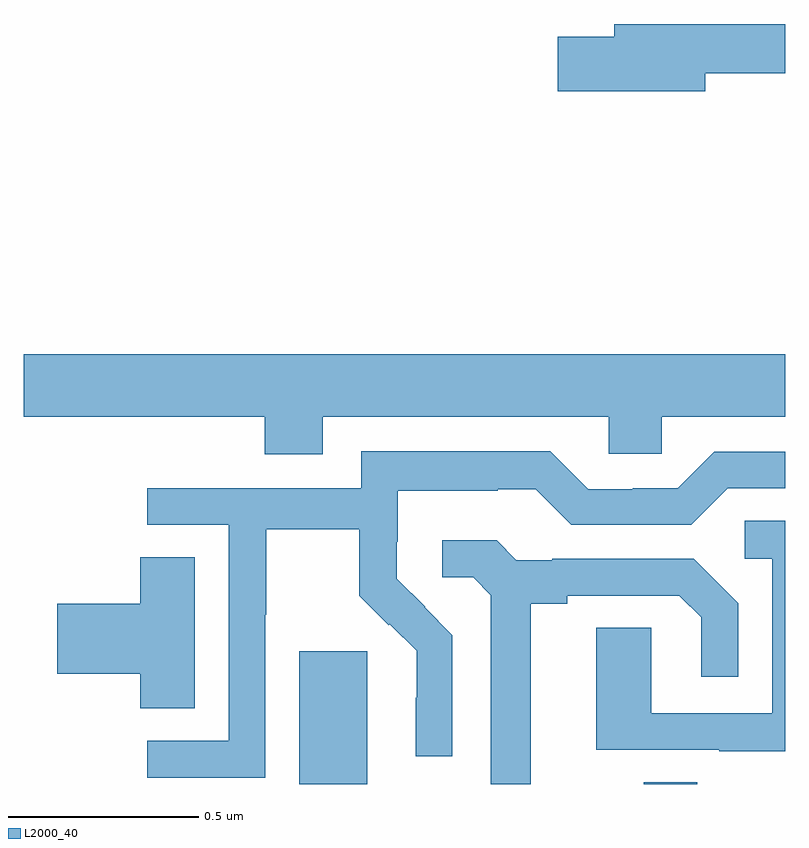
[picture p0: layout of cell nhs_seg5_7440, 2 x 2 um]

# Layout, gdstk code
import gdstk
lib = gdstk.Library(unit=1e-6, precision=1e-09)
def R(c, l, rs):  # rectangles x0, y0, x1, y1
    for r in rs: c.add(gdstk.rectangle(r[:2], r[2:], *l))
def P(c, l, *ps):  # polygons
    for p in ps: c.add(gdstk.Polygon(p, *l))
L2000_40 = (2000, 40)

nhs_seg5_7440 = lib.new_cell('nhs_seg5_7440')
R(nhs_seg5_7440, L2000_40, [(209.723,851.799,209.902,852.147), (210.629,851.799,210.769,851.804)])
P(nhs_seg5_7440, L2000_40, [(210.79,853.666),(211,853.666),(211,853.795),(210.551,853.795),(210.551,853.761),(210.402,853.761),(210.402,853.619),(210.79,853.619)],
  [(209,852.764),(209.633,852.764),(209.633,852.665),(209.785,852.665),(209.785,852.764),(210.537,852.764),(210.537,852.666),(210.675,852.666),(210.675,852.764),(211,852.764),(211,852.928),(209,852.928)],
  [(209.634,852.244),(209.637,852.244),(209.637,852.468),(209.881,852.468),(209.881,852.293),(209.958,852.216),(209.961,852.219),(210.032,852.149),(210.032,852.026),(210.03,852.026),(210.03,851.872),(210.126,851.872),(210.126,852.19),(210.053,852.263),(210.054,852.264),(209.98,852.338),(209.98,852.435),(209.982,852.435),(209.982,852.569),(210.245,852.569),(210.245,852.573),(210.345,852.573),(210.438,852.48),(210.753,852.48),(210.849,852.576),(211,852.576),(211,852.672),(210.813,852.672),(210.717,852.576),(210.599,852.576),(210.599,852.573),(210.483,852.573),(210.383,852.673),(209.886,852.673),(209.886,852.576),(209.325,852.576),(209.325,852.48),(209.538,852.48),(209.538,851.913),(209.325,851.913),(209.325,851.815),(209.634,851.815)],
  [(211,852.491),(210.894,852.491),(210.894,852.39),(210.966,852.39),(210.966,851.985),(210.648,851.985),(210.648,852.209),(210.503,852.209),(210.503,851.889),(210.827,851.889),(210.827,851.885),(211,851.885)],
  [(210.331,852.272),(210.427,852.272),(210.427,852.294),(210.722,852.294),(210.779,852.237),(210.779,852.081),(210.876,852.081),(210.876,852.274),(210.76,852.39),(210.388,852.39),(210.388,852.387),(210.294,852.387),(210.242,852.439),(210.099,852.439),(210.099,852.342),(210.18,852.342),(210.227,852.295),(210.227,851.799),(210.331,851.799)],
  [(209.449,852.395),(209.306,852.395),(209.306,852.272),(209.088,852.272),(209.088,852.089),(209.306,852.089),(209.306,851.998),(209.449,851.998)])

lib.write_gds('nhs_seg5_7440.gds')
